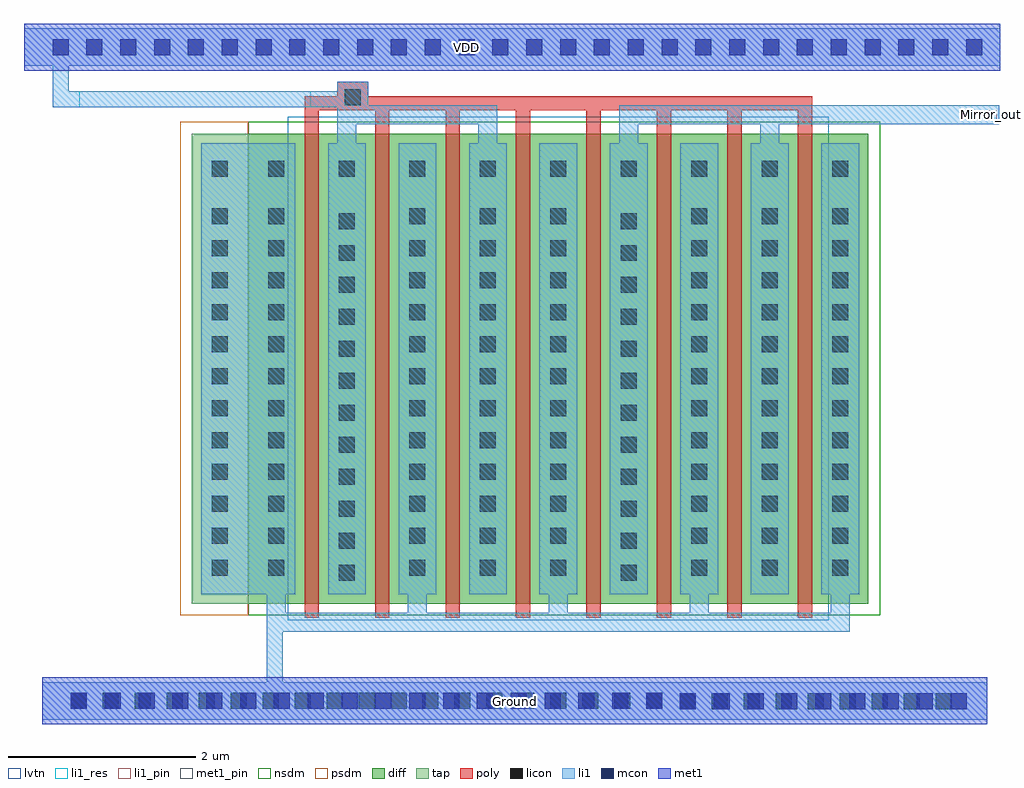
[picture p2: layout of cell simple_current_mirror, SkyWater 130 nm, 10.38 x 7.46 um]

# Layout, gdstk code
from math import pi, radians
import gdstk
lib = gdstk.Library(unit=1e-6, precision=5e-09)
def R(c, l, rs):  # rectangles x0, y0, x1, y1
    for r in rs: c.add(gdstk.rectangle(r[:2], r[2:], *l))
def A(c, l, x, y, w, h, nx, ny, dx, dy):  # array of equal rectangles
    R(c, l, [(x+i*dx, y+j*dy, x+i*dx+w, y+j*dy+h) for i in range(nx) for j in range(ny)])
def P(c, l, *ps):  # polygons
    for p in ps: c.add(gdstk.Polygon(p, *l))
diff = (65, 20)
tap = (65, 44)
poly = (66, 20)
licon = (66, 44)
li1_res = (67, 13)
li1_pin = (67, 16)
li1 = (67, 20)
mcon = (67, 44)
met1_pin = (68, 16)
met1 = (68, 20)
nsdm = (93, 44)
psdm = (94, 20)
lvtn = (125, 44)

nmos_1v8_lvt_5p0_body_4f = lib.new_cell('nmos_1v8_lvt_5p0_body_4finger')
R(nmos_1v8_lvt_5p0_body_4f, diff, [(-5.55,0.1,-1.95,5.1)])
R(nmos_1v8_lvt_5p0_body_4f, tap, [(-6.15,0.1,-5.55,5.1)])
A(nmos_1v8_lvt_5p0_body_4f, poly, -4.95, -0.05, 0.15, 5.4, 4, 1, 0.75, 0)
R(nmos_1v8_lvt_5p0_body_4f, poly, [(-4.95,5.35,-2.55,5.5)])
A(nmos_1v8_lvt_5p0_body_4f, licon, -4.585, 0.345, 0.17, 0.17, 1, 12, 0, 0.34)
A(nmos_1v8_lvt_5p0_body_4f, licon, -5.935, 0.395, 0.17, 0.17, 1, 12, 0, 0.34)
A(nmos_1v8_lvt_5p0_body_4f, licon, -5.335, 0.395, 0.17, 0.17, 1, 12, 0, 0.34)
A(nmos_1v8_lvt_5p0_body_4f, licon, -3.835, 0.395, 0.17, 0.17, 3, 12, 0.75, 0.34)
A(nmos_1v8_lvt_5p0_body_4f, licon, -5.335, 4.64, 0.17, 0.17, 5, 1, 0.75, 0)
R(nmos_1v8_lvt_5p0_body_4f, licon, [(-5.935,4.64,-5.765,4.81)])
A(nmos_1v8_lvt_5p0_body_4f, li1, -5.35, 0, 0.2, 0.2, 3, 1, 1.5, 0)
A(nmos_1v8_lvt_5p0_body_4f, li1, -5.45, 0.2, 0.4, 4.8, 5, 1, 0.75, 0)
R(nmos_1v8_lvt_5p0_body_4f, li1, [(-5.35,-0.2,-2.15,0), (-6.05,0.2,-5.65,5), (-5.65,0.2,-5.45,5), (-4.6,5,-4.4,5.2), (-3.1,5,-2.9,5.2), (-4.6,5.2,-2.9,5.4)])
R(nmos_1v8_lvt_5p0_body_4f, nsdm, [(-5.55,-0.025,-1.825,5.225)])
R(nmos_1v8_lvt_5p0_body_4f, psdm, [(-6.275,-0.025,-5.55,5.225)])
R(nmos_1v8_lvt_5p0_body_4f, lvtn, [(-5.13,-0.08,-2.37,5.28)])

nmos_1v8_lvt_5p0_4finger = lib.new_cell('nmos_1v8_lvt_5p0_4finger')
R(nmos_1v8_lvt_5p0_4finger, diff, [(-5.55,0.1,-1.95,5.1)])
A(nmos_1v8_lvt_5p0_4finger, poly, -4.95, -0.05, 0.15, 5.4, 4, 1, 0.75, 0)
R(nmos_1v8_lvt_5p0_4finger, poly, [(-4.95,5.35,-2.55,5.5)])
A(nmos_1v8_lvt_5p0_4finger, licon, -4.585, 0.345, 0.17, 0.17, 1, 12, 0, 0.34)
A(nmos_1v8_lvt_5p0_4finger, licon, -5.335, 0.395, 0.17, 0.17, 1, 12, 0, 0.34)
A(nmos_1v8_lvt_5p0_4finger, licon, -3.835, 0.395, 0.17, 0.17, 3, 12, 0.75, 0.34)
A(nmos_1v8_lvt_5p0_4finger, licon, -5.335, 4.64, 0.17, 0.17, 5, 1, 0.75, 0)
A(nmos_1v8_lvt_5p0_4finger, li1, -5.35, 0, 0.2, 0.2, 3, 1, 1.5, 0)
A(nmos_1v8_lvt_5p0_4finger, li1, -5.45, 0.2, 0.4, 4.8, 5, 1, 0.75, 0)
R(nmos_1v8_lvt_5p0_4finger, li1, [(-5.35,-0.2,-2.15,0), (-4.6,5,-4.4,5.2), (-3.1,5,-2.9,5.2), (-4.6,5.2,-2.9,5.4)])
R(nmos_1v8_lvt_5p0_4finger, nsdm, [(-5.675,-0.025,-1.825,5.225)])
R(nmos_1v8_lvt_5p0_4finger, lvtn, [(-5.13,-0.08,-2.37,5.28)])

via_p_licon_li = lib.new_cell('Via_P_Licon_Li')
R(via_p_licon_li, poly, [(1.87,5.55,2.14,5.82)])
R(via_p_licon_li, licon, [(1.92,5.6,2.09,5.77)])
R(via_p_licon_li, li1, [(1.84,5.52,2.17,5.85)])

sky130_fd_pr__res_generi = lib.new_cell('sky130_fd_pr__res_generic_l1_PK88MT')
R(sky130_fd_pr__res_generi, li1_res, [(-0.085,-1.23,0.085,1.23)])
R(sky130_fd_pr__res_generi, li1, [(-0.085,-1.515,0.085,1.515)])

li_res_185p223ohm = lib.new_cell('Li_res_185p223ohm')
li_res_185p223ohm.add(gdstk.Reference(sky130_fd_pr__res_generi, (-1.215,2.715)))

simple_current_mirror = lib.new_cell('simple_current_mirror')
R(simple_current_mirror, poly, [(1.84,5.55,2.17,5.85)])
A(simple_current_mirror, licon, 5.485, -0.825, 0.17, 0.17, 9, 1, 0.34, 0)
A(simple_current_mirror, licon, -0.995, -0.82, 0.17, 0.17, 19, 1, 0.34, 0)
R(simple_current_mirror, li1_pin, [(8.745,5.45,8.855,5.55)])
R(simple_current_mirror, li1, [(6.54,5.4,8.88,5.6), (-1.495,6.02,8.89,6.42)])
P(simple_current_mirror, li1, [(-1.3,-0.935),(-1.3,-0.535),(1.175,-0.535),(8.755,-0.535),(8.755,-0.935)])
A(simple_current_mirror, mcon, 5.485, -0.825, 0.17, 0.17, 9, 1, 0.36, 0)
A(simple_current_mirror, mcon, -0.995, -0.82, 0.17, 0.17, 18, 1, 0.36, 0)
A(simple_current_mirror, mcon, -1.19, 6.135, 0.17, 0.17, 13, 1, 0.36, 0)
A(simple_current_mirror, mcon, 4.93, 6.135, 0.17, 0.17, 6, 1, 0.36, 0)
R(simple_current_mirror, mcon, [(3.13,6.135,3.3,6.305), (3.49,6.135,3.66,6.305), (3.49,6.135,3.66,6.305), (3.85,6.135,4.02,6.305), (3.85,6.135,4.02,6.305), (4.21,6.135,4.38,6.305), (4.21,6.135,4.38,6.305), (4.57,6.135,4.74,6.305), (4.57,6.135,4.74,6.305), (4.93,6.135,5.1,6.305), (6.73,6.135,6.9,6.305), (7.09,6.135,7.26,6.305), (7.09,6.135,7.26,6.305), (7.45,6.135,7.62,6.305), (7.45,6.135,7.62,6.305), (7.81,6.135,7.98,6.305), (7.81,6.135,7.98,6.305), (8.17,6.135,8.34,6.305), (8.17,6.135,8.34,6.305), (8.53,6.135,8.7,6.305), (8.53,6.135,8.7,6.305)])
R(simple_current_mirror, met1_pin, [(3.32,-0.82,3.495,-0.65), (3.13,6.135,3.3,6.305)])
R(simple_current_mirror, met1, [(-1.3,-0.985,8.755,-0.485), (-1.495,5.97,8.89,6.47)])
R(simple_current_mirror, lvtn, [(4.07,0.12,4.31,5.48)])
simple_current_mirror.add(gdstk.FlexPath([(-1.105,5.75),(-1.105,5.855)], 0.17, ends="flush", simple_path=True, layer=67, datatype=20))  # li1
simple_current_mirror.add(gdstk.FlexPath([(-1.105,5.85),(-1.105,6.02)], 0.17, ends="flush", simple_path=True, layer=67, datatype=20))  # li1
simple_current_mirror.add(gdstk.FlexPath([(1.175,0),(1.175,-0.535)], 0.17, ends="flush", simple_path=True, layer=67, datatype=20))  # li1
simple_current_mirror.add(gdstk.FlexPath([(3.89,5.625),(4.49,5.625)], 0.15, ends="flush", simple_path=True, layer=66, datatype=20))  # poly
simple_current_mirror.add(gdstk.Reference(nmos_1v8_lvt_5p0_body_4f, (6.44,0.2)))
simple_current_mirror.add(gdstk.Reference(nmos_1v8_lvt_5p0_4finger, (9.44,0.2)))
simple_current_mirror.add(gdstk.Reference(via_p_licon_li, (0,0)))
simple_current_mirror.add(gdstk.Reference(li_res_185p223ohm, (-2.39,4.45), rotation=3*pi/2))
simple_current_mirror.add(gdstk.Label('Ground', (3.73,-0.74), layer=67, texttype=20))
simple_current_mirror.add(gdstk.Label('Ground', (3.41,-0.735), layer=68, texttype=16))
simple_current_mirror.add(gdstk.Label('VDD', (3.215,6.22), layer=68, texttype=16))
simple_current_mirror.add(gdstk.Label('Mirror_out', (8.8,5.5), layer=67, texttype=16))

lib.write_gds('simple_current_mirror.gds')
